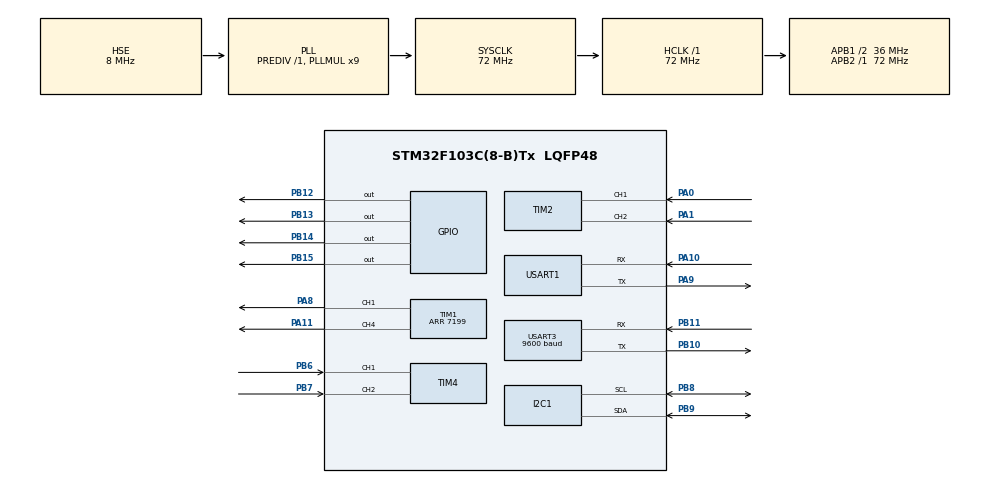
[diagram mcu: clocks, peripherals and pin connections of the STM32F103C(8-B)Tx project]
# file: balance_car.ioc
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Mcu.Family=STM32F1
Mcu.Name=STM32F103C(8-B)Tx
Mcu.Package=LQFP48
NVIC.PriorityGroup=NVIC_PRIORITYGROUP_4
NVIC.TIM3_IRQn=true\:0\:0\:false\:false\:true\:true\:true\:true
NVIC.USART3_IRQn=true\:0\:0\:false\:false\:true\:true\:true\:true
PA0-WKUP.Signal=S_TIM2_CH1_ETR
PA1.Signal=S_TIM2_CH2
PA10.Mode=Asynchronous
PA10.Signal=USART1_RX
PA11.Signal=S_TIM1_CH4
PA13.Mode=Serial_Wire
PA13.Signal=SYS_JTMS-SWDIO
PA14.Mode=Serial_Wire
PA14.Signal=SYS_JTCK-SWCLK
PA8.Signal=S_TIM1_CH1
PA9.Mode=Asynchronous
PA9.Signal=USART1_TX
PB10.Mode=Asynchronous
PB10.Signal=USART3_TX
PB11.Mode=Asynchronous
PB11.Signal=USART3_RX
PB12.GPIO_Speed=GPIO_SPEED_FREQ_HIGH
PB12.Signal=GPIO_Output
PB13.GPIO_Speed=GPIO_SPEED_FREQ_HIGH
PB13.Signal=GPIO_Output
PB14.GPIO_Speed=GPIO_SPEED_FREQ_HIGH
PB14.Signal=GPIO_Output
PB15.GPIO_Speed=GPIO_SPEED_FREQ_HIGH
PB15.Signal=GPIO_Output
PB6.Signal=S_TIM4_CH1
PB7.Signal=S_TIM4_CH2
PB8.Mode=I2C
PB8.Signal=I2C1_SCL
PB9.Mode=I2C
PB9.Signal=I2C1_SDA
PD0-OSC_IN.Mode=HSE-External-Oscillator
PD0-OSC_IN.Signal=RCC_OSC_IN
PD1-OSC_OUT.Mode=HSE-External-Oscillator
PD1-OSC_OUT.Signal=RCC_OSC_OUT
ProjectManager.HeapSize=0x200
ProjectManager.StackSize=0x400
ProjectManager.TargetToolchain=MDK-ARM V5.32
RCC.AHBFreq_Value=72000000
RCC.APB1CLKDivider=RCC_HCLK_DIV2
RCC.APB1Freq_Value=36000000
RCC.APB1TimFreq_Value=72000000
RCC.APB2Freq_Value=72000000
RCC.APB2TimFreq_Value=72000000
RCC.HCLKFreq_Value=72000000
RCC.PLLMUL=RCC_PLL_MUL9
RCC.PLLSourceVirtual=RCC_PLLSOURCE_HSE
RCC.SYSCLKFreq_VALUE=72000000
RCC.SYSCLKSource=RCC_SYSCLKSOURCE_PLLCLK
RCC.USBFreq_Value=72000000
SH.S_TIM1_CH1.0=TIM1_CH1,PWM Generation1 CH1
SH.S_TIM1_CH4.0=TIM1_CH4,PWM Generation4 CH4
SH.S_TIM2_CH1_ETR.0=TIM2_CH1,Encoder_Interface
SH.S_TIM2_CH2.0=TIM2_CH2,Encoder_Interface
SH.S_TIM4_CH1.0=TIM4_CH1,Encoder_Interface
SH.S_TIM4_CH2.0=TIM4_CH2,Encoder_Interface
TIM1.AutoReloadPreload=TIM_AUTORELOAD_PRELOAD_ENABLE
TIM1.Channel-PWM\ Generation1\ CH1=TIM_CHANNEL_1
TIM1.Channel-PWM\ Generation4\ CH4=TIM_CHANNEL_4
TIM1.Period=7199
TIM2.EncoderMode=TIM_ENCODERMODE_TI12
TIM2.IC1Filter=10
TIM2.IC2Filter=10
TIM3.Period=4999
TIM3.Prescaler=71
TIM4.EncoderMode=TIM_ENCODERMODE_TI12
TIM4.IC1Filter=10
TIM4.IC2Filter=10
USART1.VirtualMode=VM_ASYNC
USART3.BaudRate=9600
USART3.VirtualMode=VM_ASYNC
VP_TIM1_VS_ClockSourceINT.Mode=Internal
VP_TIM3_VS_ClockSourceINT.Mode=Internal
board=custom

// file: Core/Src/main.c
/* USER CODE BEGIN Header */
/**
  ******************************************************************************
  * @file           : main.c
  * @brief          : Main program body
  ******************************************************************************
  * @attention
  *
  * Copyright (c) 2026 STMicroelectronics.
  * All rights reserved.
  *
  * This software is licensed under terms that can be found in the LICENSE file
  * in the root directory of this software component.
  * If no LICENSE file comes with this software, it is provided AS-IS.
  *
  ******************************************************************************
  */
/* USER CODE END Header */
#include "main.h"
#include "i2c.h"
#include "tim.h"
#include "usart.h"
#include "gpio.h"

/* USER CODE BEGIN Includes */
#include <stdio.h>
#include "string.h"
#include "stdint.h"
#include "math.h"

#include "ssd1306.h"
#include "ssd1306_fonts.h"

#include "motor.h"
#include "encoder.h"
#include "mpu6050.h"
#include "inv_mpu.h"
#include "pid.h"
#include "bluetooth.h"
#include "ultrasonic.h"
/* USER CODE END Includes */

/* USER CODE BEGIN PV */
volatile uint32_t tick10 = 0;

uint8_t mpu_ok = 0xFF;
uint8_t dmp_ok = 0xFF;

char buf[24];
/* USER CODE END PV */

void SystemClock_Config(void);

int main(void)
{

  /* MCU Configuration--------------------------------------------------------*/

  /* Reset of all peripherals, Initializes the Flash interface and the Systick. */
  HAL_Init();

  /* Configure the system clock */
  SystemClock_Config();

  /* Initialize all configured peripherals */
  MX_GPIO_Init();
  MX_USART1_UART_Init();
  MX_I2C1_Init();
  MX_TIM1_Init();
  MX_TIM2_Init();
  MX_TIM4_Init();
  MX_TIM3_Init();
  MX_USART3_UART_Init();
  /* USER CODE BEGIN 2 */
  ssd1306_Init();
  ssd1306_Fill(Black);
  ssd1306_SetCursor(0, 0);
  ssd1306_WriteString("balance_car", Font_7x10, White);
  ssd1306_UpdateScreen();

  HAL_TIM_PWM_Start(&htim1, TIM_CHANNEL_1);
  HAL_TIM_PWM_Start(&htim1, TIM_CHANNEL_4);
  Load(0, 0);

  HAL_TIM_Encoder_Start(&htim2, TIM_CHANNEL_ALL);
  HAL_TIM_Encoder_Start(&htim4, TIM_CHANNEL_ALL);
  __HAL_TIM_SET_COUNTER(&htim2, 0);
  __HAL_TIM_SET_COUNTER(&htim4, 0);

  /* 蓝牙只挂接收中断，不参与 DMP 的软件 I2C，放在这里最安全 */
  Bluetooth_Init();

  /* 超声波：PA3 触发 / PA2 回波，DWT 计时，不占定时器、不开中断 */
  Ultrasonic_Init();

  /* MPU6050 + DMP must finish BEFORE the control tick starts:
   * DMP firmware loading and Control() share the same software I2C pins,
   * so starting the tick early corrupts the firmware download. */
  mpu_ok = MPU_Init();
  if (mpu_ok == 0U)
  {
    dmp_ok = mpu_dmp_init();
  }

  tick10 = 0;
  if (dmp_ok == 0U)
  {
    HAL_TIM_Base_Start_IT(&htim3);
  }
  /* USER CODE END 2 */

  /* Infinite loop */
  while (1)
  {

    /* USER CODE BEGIN 3 */
    static uint32_t t = 0;

    /* 超声波测距：非阻塞入口，内部自己控 65ms 节拍。
     * 单次最多阻塞 8ms，但 TIM3 的 200Hz 和 USART3 的中断照常响应。 */
    Ultrasonic_Update();

    if ((HAL_GetTick() - t) >= 200U)
    {
      t = HAL_GetTick();

      ssd1306_Fill(Black);

      sprintf(buf, "M:%u D:%u", mpu_ok, dmp_ok);
      ssd1306_SetCursor(0, 0);
      ssd1306_WriteString(buf, Font_7x10, White);

      sprintf(buf, "A:%6d", (int)(Pitch * 10.0f));
      ssd1306_SetCursor(0, 12);
      ssd1306_WriteString(buf, Font_7x10, White);

      sprintf(buf, "G:%6d", gyroy);
      ssd1306_SetCursor(0, 24);
      ssd1306_WriteString(buf, Font_7x10, White);

      sprintf(buf, "V:%6d", (int)(Encoder_Left_10ms + Encoder_Right_10ms));
      ssd1306_SetCursor(0, 36);
      ssd1306_WriteString(buf, Font_7x10, White);

      sprintf(buf, "O:%6d", Vertical_out);
      ssd1306_SetCursor(0, 48);
      ssd1306_WriteString(buf, Font_7x10, White);

      ssd1306_UpdateScreen();
    }
  }
  /* USER CODE END 3 */
}

void SystemClock_Config(void)
{
  RCC_OscInitTypeDef RCC_OscInitStruct = {0};
  RCC_ClkInitTypeDef RCC_ClkInitStruct = {0};

  /** Initializes the RCC Oscillators according to the specified parameters
  * in the RCC_OscInitTypeDef structure.
  */
  RCC_OscInitStruct.OscillatorType = RCC_OSCILLATORTYPE_HSE;
  RCC_OscInitStruct.HSEState = RCC_HSE_ON;
  RCC_OscInitStruct.HSEPredivValue = RCC_HSE_PREDIV_DIV1;
  RCC_OscInitStruct.HSIState = RCC_HSI_ON;
  RCC_OscInitStruct.PLL.PLLState = RCC_PLL_ON;
  RCC_OscInitStruct.PLL.PLLSource = RCC_PLLSOURCE_HSE;
  RCC_OscInitStruct.PLL.PLLMUL = RCC_PLL_MUL9;
  if (HAL_RCC_OscConfig(&RCC_OscInitStruct) != HAL_OK)
  {
    Error_Handler();
  }

  /** Initializes the CPU, AHB and APB buses clocks
  */
  RCC_ClkInitStruct.ClockType = RCC_CLOCKTYPE_HCLK|RCC_CLOCKTYPE_SYSCLK
                              |RCC_CLOCKTYPE_PCLK1|RCC_CLOCKTYPE_PCLK2;
  RCC_ClkInitStruct.SYSCLKSource = RCC_SYSCLKSOURCE_PLLCLK;
  RCC_ClkInitStruct.AHBCLKDivider = RCC_SYSCLK_DIV1;
  RCC_ClkInitStruct.APB1CLKDivider = RCC_HCLK_DIV2;
  RCC_ClkInitStruct.APB2CLKDivider = RCC_HCLK_DIV1;

  if (HAL_RCC_ClockConfig(&RCC_ClkInitStruct, FLASH_LATENCY_2) != HAL_OK)
  {
    Error_Handler();
  }
}

/* USER CODE BEGIN 4 */
/* 10 ms control tick: read sensors + run the vertical PD. */
void HAL_TIM_PeriodElapsedCallback(TIM_HandleTypeDef *htim)
{
  if (htim->Instance == TIM3)
  {
    tick10++;
    Control();
  }
}
/* USER CODE END 4 */

void Error_Handler(void)
{
  __disable_irq();
  while (1)
  {
  }
}
